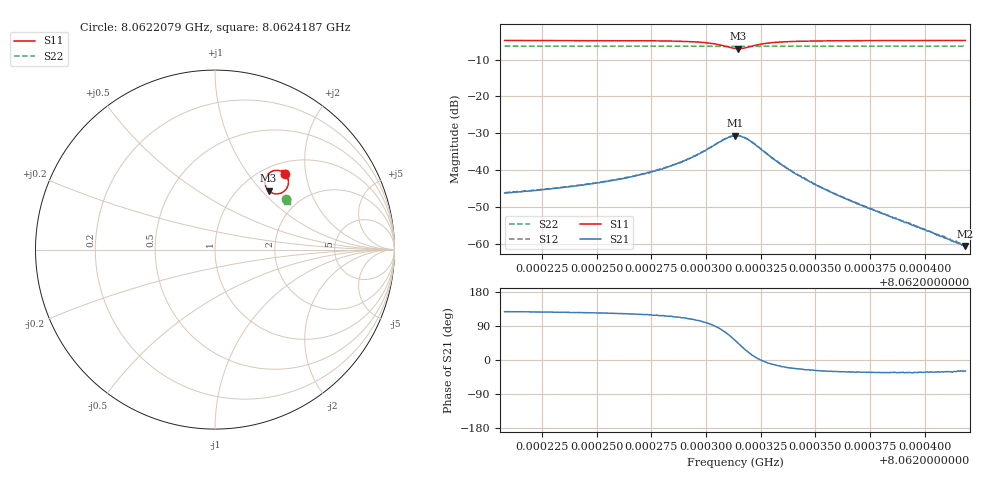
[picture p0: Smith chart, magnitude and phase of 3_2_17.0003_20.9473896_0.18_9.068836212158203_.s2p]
#  HZ  S  RI  R  50.00
! Rohde & Schwarz Vector Network Analyzer
! Rohde-Schwarz,ZNB20-2Port,1311601062101988,3.16
! Created: UTC 3/20/2024, 10:52:09 PM
! freq[Hz]  re:S11  im:S11  re:S21  im:S21  re:S12  im:S12  re:S22  im:S22
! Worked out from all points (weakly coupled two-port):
!   401 points, 8.0622079 GHz to 8.0624187 GHz, reference 50 ohm
!   highest |S21| = -30.66 dB at 8.0623133 GHz (marker M1); lowest = -60.6 dB at 8.0624187 GHz (marker M2)
!   lowest |S11| = -7.1 dB at 8.0623149 GHz (marker M3), VSWR 2.60, Z = 66.9 + j54.7 ohm
!   |S11| at or under -10 dB: nowhere
!   |S22| runs from -6.4 to -6.3 dB; largest |S21 - S12| = 0.002
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8.06220793e9  0.3908 0.4221  -0.00297 0.00387  -0.00277 0.00405  0.3931 0.2794
8.06222373e9  0.393 0.4194  -0.00319 0.00429  -0.00299 0.00453  0.3938 0.2784
8.06224322e9  0.3965 0.4153  -0.00358 0.0051  -0.00335 0.00536  0.3944 0.2773
8.06226325e9  0.4011 0.4077  -0.00416 0.00662  -0.0038 0.00696  0.3951 0.2759
8.06227852e9  0.4058 0.3969  -0.00454 0.00898  -0.00419 0.00936  0.3957 0.2746
8.06229011e9  0.4091 0.3805  -0.00485 0.0125  -0.00396 0.0129  0.3959 0.2733
8.06229644e9  0.4082 0.3647  -0.00408 0.016  -0.00306 0.0162  0.3958 0.2724
8.06230223e9  0.4 0.3424  -0.00147 0.0202  -8.28e-05 0.0207  0.3954 0.2714
8.06230961e9  0.3557 0.3114  0.00919 0.0256  0.0108 0.0253  0.393 0.2704
8.0623133e9  0.3148 0.317  0.018 0.0231  0.0195 0.0221  0.3916 0.271
8.06231488e9  0.2984 0.3283  0.0212 0.0202  0.0226 0.0189  0.3908 0.2718
8.06231698e9  0.2836 0.3495  0.0237 0.0149  0.0248 0.0138  0.3908 0.2727
8.06231962e9  0.278 0.3782  0.0242 0.00859  0.0248 0.00705  0.3912 0.274
8.06232699e9  0.3025 0.427  0.0173 -0.00144  0.0174 -0.00232  0.393 0.2755
8.06233648e9  0.3336 0.4409  0.0102 -0.00358  0.0101 -0.00419  0.3951 0.275
8.06234122e9  0.3433 0.4415  0.00813 -0.00344  0.00804 -0.00404  0.3956 0.2747
8.06234859e9  0.3538 0.4407  0.00602 -0.003  0.00582 -0.0034  0.3962 0.2742
8.06236335e9  0.3659 0.4377  0.00356 -0.00216  0.00347 -0.00245  0.3972 0.2731
8.06238389e9  0.3748 0.4339  0.00198 -0.00131  0.00192 -0.00142  0.3981 0.2719
8.06240549e9  0.3803 0.4307  0.00111 -0.000694  0.00109 -0.000783  0.3989 0.2706
8.06240813e9  0.3807 0.4304  0.00108 -0.000656  0.00103 -0.000729  0.3991 0.2705
8.06241867e9  0.3825 0.4291  0.000813 -0.00045  0.000794 -0.00048  0.3995 0.2699
